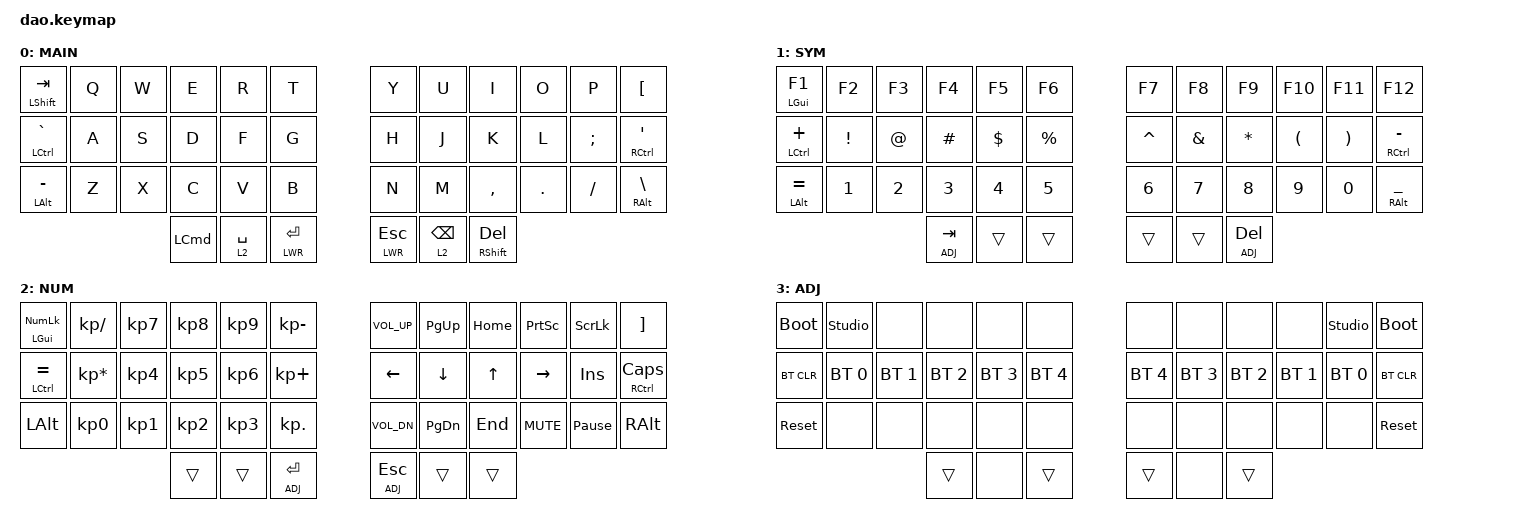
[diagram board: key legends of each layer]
/*
 * Copyright (c) 2021 Rafael Yumagulov
 *
 * SPDX-License-Identifier: MIT
 */

#include <behaviors.dtsi>
#include <dt-bindings/zmk/bt.h>
#include <dt-bindings/zmk/keys.h>

#define DEF 0
#define LWR 1
#define RSE 2
#define ADJ 3

&lt { quick_tap_ms = <200>; };

&mt { quick_tap_ms = <200>; };

/ {
    chosen {
        zmk,physical_layout = &dao_crkbd_layout;

        // zmk,physical_layout = &dao_full_layout;
    };
};

/ {
    keymap {
        compatible = "zmk,keymap";

        default_layer {
            display-name = "MAIN";
            bindings = <
&mt LSHFT TAB    &kp Q  &kp W  &kp E             &kp R        &kp T        &kp Y        &kp U       &kp I                &kp O    &kp P     &kp LBKT
&mt LCTRL GRAVE  &kp A  &kp S  &kp D             &kp F        &kp G        &kp H        &kp J       &kp K                &kp L    &kp SEMI  &mt RCTRL SQT
&mt LALT MINUS   &kp Z  &kp X  &kp C             &kp V        &kp B        &kp N        &kp M       &kp COMMA            &kp DOT  &kp FSLH  &mt RALT BSLH
                               &kp LEFT_COMMAND  &lt 2 SPACE  &lt LWR RET  &lt LWR ESC  &lt 2 BSPC  &mt RIGHT_SHIFT DEL
            >;
        };

        lower_layer {
            display-name = "SYM";
            bindings = <
&mt LGUI F1     &kp F2    &kp F3  &kp F4       &kp F5    &kp F6     &kp F7     &kp F8    &kp F9       &kp F10   &kp F11   &kp F12
&mt LCTRL PLUS  &kp EXCL  &kp AT  &kp HASH     &kp DLLR  &kp PRCNT  &kp CARET  &kp AMPS  &kp STAR     &kp LPAR  &kp RPAR  &mt RCTRL MINUS
&mt LALT EQUAL  &kp N1    &kp N2  &kp N3       &kp N4    &kp N5     &kp N6     &kp N7    &kp N8       &kp N9    &kp N0    &mt RALT UNDER
                                  &lt ADJ TAB  &trans    &trans     &trans     &trans    &lt ADJ DEL
            >;
        };

        raise_layer {
            display-name = "NUM";
            bindings = <
&mt LGUI KP_NUM  &kp KP_SLASH     &kp KP_N7  &kp KP_N8  &kp KP_N9  &kp KP_MINUS  &kp C_VOL_UP  &kp PG_UP      &kp HOME  &kp PSCRN   &kp SLCK         &kp RBKT
&mt LCTRL EQUAL  &kp KP_MULTIPLY  &kp KP_N4  &kp KP_N5  &kp KP_N6  &kp KP_PLUS   &kp LEFT      &kp DOWN       &kp UP    &kp RIGHT   &kp INS          &mt RCTRL CLCK
&kp LALT         &kp KP_N0        &kp KP_N1  &kp KP_N2  &kp KP_N3  &kp KP_DOT    &kp C_VOL_DN  &kp PAGE_DOWN  &kp END   &kp C_MUTE  &kp PAUSE_BREAK  &kp RALT
                                             &trans     &trans     &lt ADJ RET   &lt ADJ ESC   &trans    &trans
            >;
        };

        adjust_layer {
            display-name = "ADJ";
            bindings = <
&bootloader  &studio_unlock  &none         &none         &none         &none         &none         &none         &none         &none         &studio_unlock  &bootloader
&bt BT_CLR   &bt BT_SEL 0    &bt BT_SEL 1  &bt BT_SEL 2  &bt BT_SEL 3  &bt BT_SEL 4  &bt BT_SEL 4  &bt BT_SEL 3  &bt BT_SEL 2  &bt BT_SEL 1  &bt BT_SEL 0    &bt BT_CLR
&sys_reset   &none           &none         &none         &none         &none         &none         &none         &none         &none         &none           &sys_reset
                                           &trans        &none         &trans        &trans        &none         &trans
            >;
        };
    };
};
